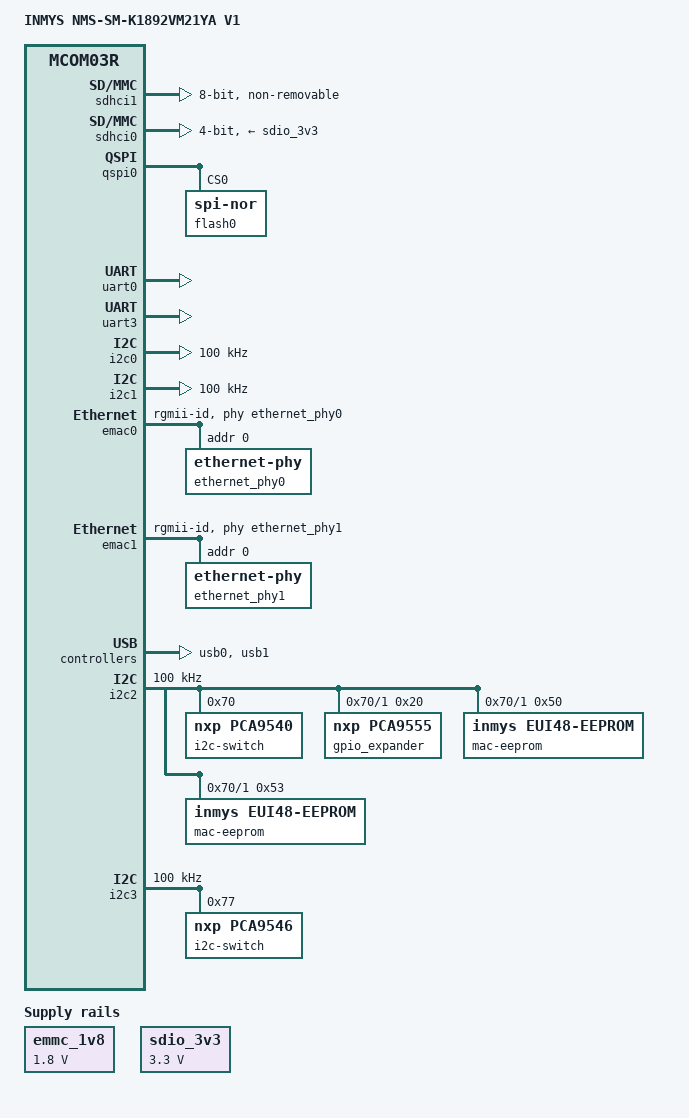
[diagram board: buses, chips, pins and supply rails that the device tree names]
// SPDX-License-Identifier: GPL-2.0+
/*
 * INMYS NMS-SM-K1892VM21YA V1 - common U-Boot description for every carrier
 *
 * Copyright (C) 2026 INMYS
 */

/dts-v1/;

#include <dt-bindings/gpio/gpio.h>

#include "mcom03r.dtsi"

/ {
	model = "INMYS NMS-SM-K1892VM21YA V1";
	compatible = "inmys,nms-sm-k1892vm21ya",
		     "inmys,nms-sm-k1892",
		     "elvees,mcom03r";

	aliases {
		ethernet0 = &emac0;
		ethernet1 = &emac1;
		i2c_pm = &i2c0;
		i2c_gp = &i2c1;
		mmc0 = &sdhci0;
		mmc1 = &sdhci1;
	};

	chosen {
		stdout-path = "serial0:115200n8";
		inmys,boot-medium = "qspi0";
	};

	/* Outside the SD boot capsule and filesystems (first partition at 4 MiB). */
	config {
		u-boot,mmc-env-offset = <0x300000>;
		u-boot,mmc-env-offset-redundant = <0x310000>;
	};

	emmc_1v8: regulator-emmc-1v8 {
		compatible = "regulator-fixed";
		regulator-name = "emmc-1v8";
		regulator-min-microvolt = <1800000>;
		regulator-max-microvolt = <1800000>;
		regulator-always-on;
	};

	sdio_3v3: regulator-sdio-3v3 {
		compatible = "regulator-fixed";
		regulator-name = "sdio-3v3";
		regulator-min-microvolt = <3300000>;
		regulator-max-microvolt = <3300000>;
		regulator-always-on;
	};
};

/* eMMC (D20) on SDMMC1 */
&sdhci1 {
	status = "okay";

	non-removable;
	bus-width = <8>;
	vqmmc-supply = <&emmc_1v8>;
};

/* SMARC SDIO (4 bit, 3.3 V only) */
&sdhci0 {
	status = "okay";

	bus-width = <4>;
	vmmc-supply = <&sdio_3v3>;
	vqmmc-supply = <&sdio_3v3>;
	no-1-8-v;
	/* Conservative bootstrap speed; Linux applies the carrier profile. */
	max-frequency = <25000000>;
	elvees,drive-strength-clk = <6>;
	/*
	 * SDMMC0_CDN (ball BB1) is wired to the SMARC SDIO_CD# pin.  Keep
	 * broken-cd here: it gates the POWER_ON / CARD_EN workaround in
	 * patches/uboot/0006, and U-Boot does not poll the slot anyway, so
	 * it costs nothing.  Linux has no such gate on a working board and
	 * does not need it - see the Linux DTS.
	 */
	broken-cd;
};

/* Boot flash (D21 W25Q128, 16 MiB) */
&qspi0 {
	status = "okay";

	flash0: flash@0 {
		compatible = "jedec,spi-nor", "spi-flash";
		reg = <0x0>;
		spi-tx-bus-width = <4>;
		spi-rx-bus-width = <4>;
	};
};

/* Debug UART and SER0 are identical at the module connector. */
&uart0 {
	status = "okay";
	clock-frequency = <27920454>;
};

&uart3 {
	status = "okay";
	clock-frequency = <27920454>;
};

/* SMARC serial ports */
ser0: &uart3 { };
ser1: &uart0 { };
ser2: &uart2 { };
ser3: &uart1 { };

/*
 * SMARC I2C_PM (X1.P121/P122) and I2C_GP (X1.S48/S49).  Both are plain
 * module-level buses that go straight to the carrier, so they are enabled
 * unconditionally: nothing is probed on them automatically, they are only
 * used by hand (`i2c dev` / `i2c probe`) and by the carrier device nodes.
 */
i2c_pm: &i2c0 {
	status = "okay";
	clock-frequency = <100000>;
};

i2c_gp: &i2c1 {
	status = "okay";
	clock-frequency = <100000>;
};

/* Ethernet PHYs D9A/D9B (DAP8211RI), one PHY per MDIO bus */
/*
 * The PHY VDDIO is +1V8_AO and the RGMII nets are pulled to it, so the
 * SoC's EMAC pads must be 1.8 V (URB 0x10400140).  Without this the MAC
 * transmits but receives nothing.
 */
&emac0 {
	status = "okay";
	phy-mode = "rgmii-id";
	phy-handle = <&ethernet_phy0>;
	elvees,pads-1v8-en;

	ethernet_phy0: ethernet-phy@0 {
		reg = <0x0>;
	};
};

&emac1 {
	status = "okay";
	phy-mode = "rgmii-id";
	phy-handle = <&ethernet_phy1>;
	elvees,pads-1v8-en;

	ethernet_phy1: ethernet-phy@0 {
		reg = <0x0>;
	};
};

/* USB0 -> TUSB8041 hub, USB1 -> TUSB9261 USB-SATA */
&usb0 {
	status = "okay";
};

&usb1 {
	status = "okay";
};

/*
 * SoC I2C2 -> PCA9540B (D30).  Note that the PCA9540B control register
 * has an enable bit (bit 2) on top of the channel bit (bit 0): writing
 * 0x00 or 0x01 leaves the part disabled and nothing behind the mux
 * answers.  The Linux/U-Boot pca954x drivers handle this themselves,
 * but a raw `i2c mw 70 0.0 <v>` from the prompt needs 0x04 (channel 0,
 * I2C_INT, 3.3 V) or 0x05 (channel 1, I2C_INT_1V8).
 *
 *   channel 0 (I2C_INT, 3.3 V)  EMC2301 fan controller @0x2f,
 *                               TUSB8041 hub @0x44
 *   channel 1 (I2C_INT_1V8)     PCAL6416A @0x20, SN65DSI84 @0x2d,
 *                               ADV7513 @0x39, 24AA025E48 @0x50/@0x53,
 *                               PCF8523 RTC @0x68
 */
&i2c2 {
	status = "okay";
	clock-frequency = <100000>;

	i2c-switch@70 {
		compatible = "nxp,pca9540";
		reg = <0x70>;
		#address-cells = <1>;
		#size-cells = <0>;

		i2c@0 {
			#address-cells = <1>;
			#size-cells = <0>;
			reg = <0>;
		};

		i2c@1 {
			#address-cells = <1>;
			#size-cells = <0>;
			reg = <1>;

			/*
			 * PCAL6416A (D34).  Register compatible with the
			 * PCA9555 as far as U-Boot is concerned, so the
			 * pca953x driver binds to it and `gpio status -a`
			 * lists every pin.
			 */
			gpio_expander: gpio@20 {
				compatible = "nxp,pca9555";
				reg = <0x20>;
				gpio-controller;
				#gpio-cells = <2>;
			};

			/*
			 * Factory MAC addresses, 24AA025E48 EUI-48 EEPROMs
			 * (D11/D12, SOT-23-6).  The address sits in the last
			 * six bytes of the array (0xfa..0xff); the rest of
			 * the array is blank.  Read by
			 * board/elvees/common/factory-settings.c to set
			 * ethaddr/eth1addr instead of a random address.
			 *
			 * D11 has A0/A1 tied to GND (0x50) and drives GBE0,
			 * D12 has A0/A1 tied to +1V8_CORE (0x53) and drives
			 * GBE1.  Swap the indices here if a board turns out
			 * to be wired the other way round.
			 */
			mac-eeprom@50 {
				compatible = "inmys,eui48-eeprom";
				reg = <0x50>;
				inmys,eth-index = <0>;
			};

			mac-eeprom@53 {
				compatible = "inmys,eui48-eeprom";
				reg = <0x53>;
				inmys,eth-index = <1>;
			};
		};
	};
};

/* PCA9546A (D29): CAM0/CAM1/LCD */
&i2c3 {
	status = "okay";
	clock-frequency = <100000>;

	i2c-switch@77 {
		compatible = "nxp,pca9546";
		reg = <0x77>;
		#address-cells = <1>;
		#size-cells = <0>;

		i2c@0 {
			#address-cells = <1>;
			#size-cells = <0>;
			reg = <0>;
		};

		i2c@1 {
			#address-cells = <1>;
			#size-cells = <0>;
			reg = <1>;
		};

		i2c@2 {
			#address-cells = <1>;
			#size-cells = <0>;
			reg = <2>;
		};
	};
};

/* Module pad names match the Linux DTSI; see ../HARDWARE.md. */
&gpio0a {
	gpio-line-names = "BC_INT#", "", "SER0_CTS", "I2C_GPIO_INT#",
		"GPIO11", "GPIO12", "", "SER0_RTS";
};

&gpio0b {
	gpio-line-names = "SER0_RX", "SER0_TX", "UART3_DE", "UART3_RE",
		"WDT_TIME_OUT#", "UART1_DBG_RX", "UART1_DBG_TX", "SER2_RX";
};

&gpio0c {
	gpio-line-names = "SPI0_SCK", "SPI0_MOSI", "SPI0_MISO", "SPI0_SS_IN",
		"SPI0_CS0", "SPI0_CS1", "", "";
};

&gpio0d {
	gpio-line-names = "SER2_TX", "GPIO10", "GPIO13", "I2C_PM_CK",
		"I2C_PM_DAT", "I2C0_SMBALERT", "PCIE1_PERST#", "PCIE0_PERST#";
};

&gpio1a {
	gpio-line-names = "I2C_GP_CK", "I2C_GP_DAT", "I2C2_SCL", "I2C2_SDA",
		"I2C3_SCL", "I2C3_SDA", "UART_0_1_CROSS#", "FAN_TACHIN";
};

&gpio1b {
	gpio-line-names = "HDMI_I2S_SCLK", "HDMI_I2S_LRCLK", "HDMI_I2S_SDOUT",
		"", "GPIO1_CAM1_PWR#", "GPIO7", "UART0_DBG_TX", "UART0_DBG_RX";
};

&gpio1c {
	gpio-line-names = "SPI1_SCK", "SPI1_MOSI", "SPI1_MISO", "SPI1_CS0",
		"SPI1_CS1", "SPI1_CS2", "GPIO0_CAM0_PWR#", "SOC_POWEROFF_REQ";
};

&gpio1d {
	gpio-line-names = "GPIO2_CAM0_RST#", "GPIO3_CAM1_RST#", "FAN_PWMOUT",
		"LCD0_BKLT_PWM", "LCD1_BKLT_PWM", "GPIO8", "GPIO4_HDA_RST#",
		"GPIO9";
};

/* Carrier-specific devices are initialized by its Linux DTB. */
&pcie0 { status = "disabled"; };
&pcie1 { status = "disabled"; };
&qspi1 { status = "disabled"; };
